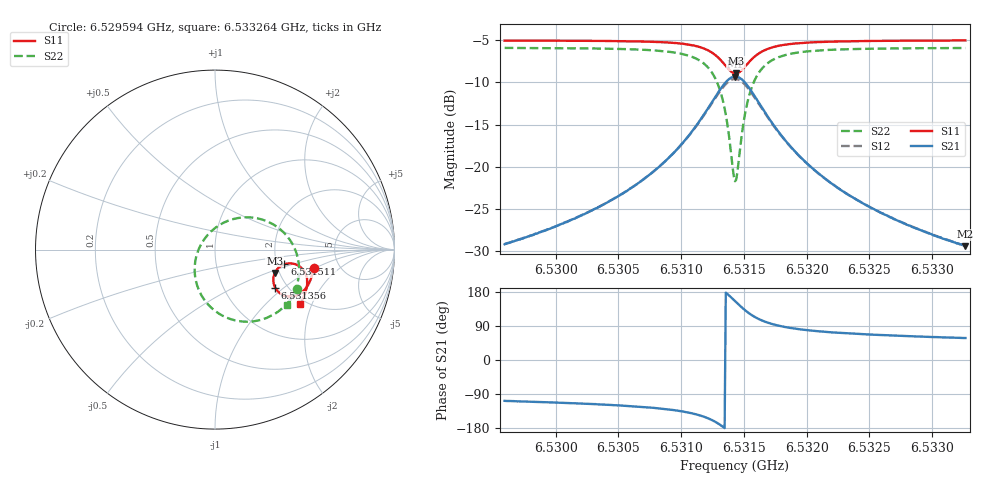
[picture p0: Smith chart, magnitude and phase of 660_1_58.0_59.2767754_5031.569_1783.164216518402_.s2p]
#  HZ  S  RI  R  50.00
! Rohde & Schwarz Vector Network Analyzer
! Rohde-Schwarz,ZNB20-2Port,1311601062101988,3.16
! Created: UTC 3/21/2024, 1:19:54 AM
! freq[Hz]  re:S11  im:S11  re:S21  im:S21  re:S12  im:S12  re:S22  im:S22
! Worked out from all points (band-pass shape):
!   401 points, 6.529594 GHz to 6.533264 GHz, reference 50 ohm
!   highest |S21| = -9.29 dB at 6.531429 GHz (marker M1); lowest = -29.4 dB at 6.533264 GHz (marker M2)
!   |S21| within 3 dB of the highest: 6.531247 GHz to 6.531614 GHz (366.8 kHz wide, 0.00562 % of centre)
!   lowest |S11| = -8.9 dB at 6.531438 GHz (marker M3), VSWR 2.11, Z = 94.5 - j28.2 ohm
!   |S11| at or under -10 dB: nowhere
!   |S22| runs from -21.7 to -5.9 dB; largest |S21 - S12| = 0.014
!   S11 on the Smith chart (normalised r, x): 6.529594 GHz: 3.25, -0.95; 6.531356 GHz: 1.73, -0.87; 6.531511 GHz: 2.20, -0.43; 6.533264 GHz: 1.84, -1.64
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6.529594e9  0.5514 -0.1003  -0.0106 -0.033  -0.0114 -0.0328  0.4583 -0.2176
6.5302087e9  0.5378 -0.1526  -0.0219 -0.0465  -0.023 -0.0462  0.4221 -0.2761
6.5305481e9  0.5246 -0.1854  -0.0358 -0.0606  -0.0376 -0.0596  0.3855 -0.3174
6.5308234e9  0.5054 -0.2166  -0.0609 -0.079  -0.0633 -0.0772  0.3294 -0.3599
6.5310344e9  0.4749 -0.2452  -0.1062 -0.0984  -0.1091 -0.0944  0.2392 -0.3953
6.5311995e9  0.422 -0.2622  -0.1886 -0.1006  -0.1904 -0.0923  0.09 -0.3882
6.5312913e9  0.3714 -0.2493  -0.2664 -0.062  -0.2636 -0.0506  -0.0365 -0.3079
6.531328e9  0.3493 -0.2318  -0.2985 -0.0256  -0.2923 -0.0139  -0.083 -0.2403
6.5313555e9  0.3353 -0.2121  -0.3172 0.0125  -0.3082 0.0231  -0.1065 -0.1736
6.5314106e9  0.3253 -0.1585  -0.3231 0.109  -0.3099 0.114  -0.0972 -0.0151
6.5314289e9  0.3296 -0.1394  -0.3123 0.1419  -0.2988 0.1445  -0.0734 0.0366
6.5314381e9  0.3332 -0.1303  -0.3045 0.1574  -0.291 0.159  -0.0577 0.0605
6.5314564e9  0.3432 -0.1135  -0.2843 0.1857  -0.2718 0.1851  -0.02 0.1028
6.5315115e9  0.3865 -0.0817  -0.2047 0.2381  -0.1964 0.2335  0.1193 0.1743
6.531539e9  0.4096 -0.0768  -0.164 0.2456  -0.1579 0.2409  0.1878 0.1801
6.5315757e9  0.437 -0.0786  -0.1167 0.2424  -0.1128 0.2383  0.2663 0.1663
6.5316675e9  0.4819 -0.1024  -0.0406 0.2061  -0.039 0.2038  0.3888 0.089
6.5318051e9  0.5074 -0.142  0.00392 0.1508  0.00507 0.1499  0.4543 -0.0207
6.5320436e9  0.5138 -0.1897  0.0214 0.0958  0.0227 0.0954  0.4681 -0.1325
6.532328e9  0.5073 -0.2264  0.0231 0.0644  0.0241 0.064  0.4552 -0.2025
6.5326583e9  0.4958 -0.2585  0.0213 0.0457  0.0222 0.0453  0.4359 -0.2519
6.5332639e9  0.4714 -0.3056  0.0179 0.0286  0.0187 0.0285  0.4011 -0.3095
